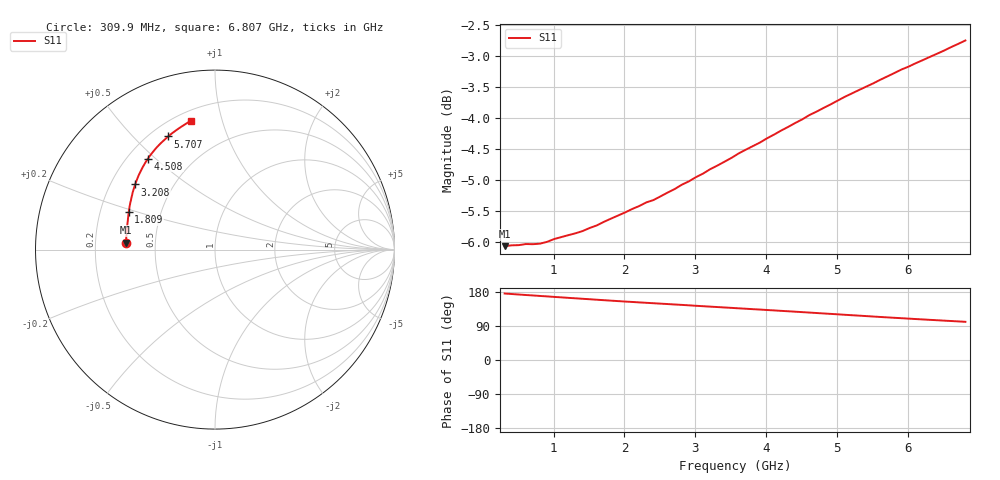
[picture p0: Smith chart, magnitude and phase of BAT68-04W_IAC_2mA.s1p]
! Infineon Technologies  Discrete & RF Semiconductors
! BAT68-04W
! IAC = 2 mA
! One-Port S-Parameters
# Hz  S  MA  R  50
!f  S11
!Hz  Mag  Ang
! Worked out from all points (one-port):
!   66 points, 309.9 MHz to 6.807 GHz, reference 50 ohm
!   lowest |S11| = -6.1 dB at 309.9 MHz (marker M1), VSWR 2.98, Z = 16.8 + j1.76 ohm
!   |S11| at or under -10 dB: nowhere
!   S11 on the Smith chart (normalised r, x): 309.9 MHz: 0.34, +0.04; 1.809 GHz: 0.32, +0.19; 3.208 GHz: 0.30, +0.33; 4.508 GHz: 0.28, +0.47; 5.707 GHz: 0.27, +0.63; 6.807 GHz: 0.26, +0.79
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3.0985e8  0.4977 175.5
6.097e8  0.4996 171.5
8.096e8  0.5 169.0
9.0955e8  0.5017 167.8
1.0095e9  0.5043 166.5
1.10945e9  0.5061 165.3
1.2094e9  0.508 164.0
1.4093e9  0.5118 161.5
1.8091e9  0.5238 156.6
2.009e9  0.5298 154.2
2.30885e9  0.5398 150.9
2.4088e9  0.5422 149.8
2.8086e9  0.5578 145.4
3.2084e9  0.5742 140.8
3.50825e9  0.5863 137.6
3.6082e9  0.5911 136.4
3.90805e9  0.6032 133.1
4.10795e9  0.6122 130.9
4.4078e9  0.6256 127.5
4.50775e9  0.6298 126.3
4.6077e9  0.6349 125.2
4.90755e9  0.6476 121.7
5.2074e9  0.6609 118.2
5.30735e9  0.6651 117.0
5.70715e9  0.6821 112.5
6.007e9  0.6946 109.2
6.4068e9  0.7114 105.0
6.8066e9  0.7291 100.8
